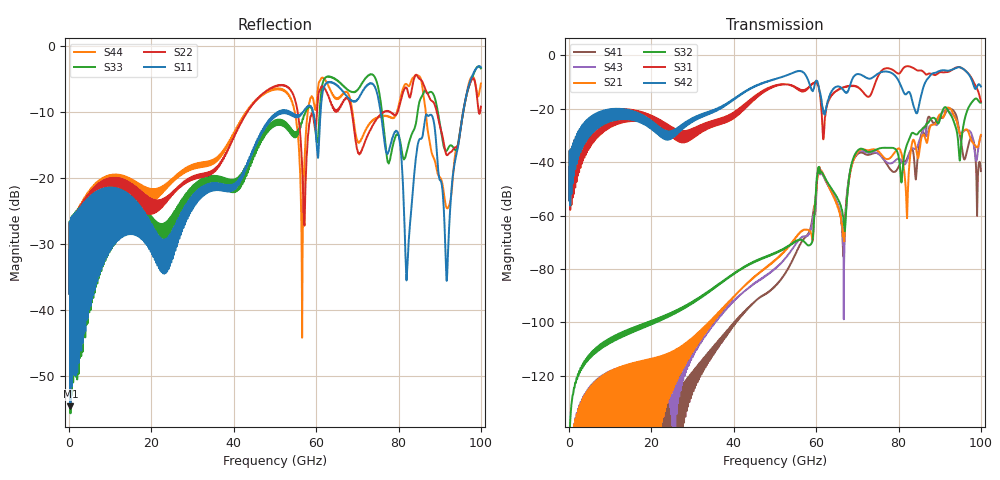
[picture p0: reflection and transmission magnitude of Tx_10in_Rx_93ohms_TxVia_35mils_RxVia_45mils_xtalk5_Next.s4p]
! Info: Touchstone file created by Circ.  Input file=Tx_10in_Rx_93ohms_TxVia_35mils_RxVia_45mils.circ
# Hz S RI R 50
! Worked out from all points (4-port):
!   10000 points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, 10 MHz to 100 GHz, reference 50 ohm
!   strongest paths, dB at 10 MHz, 25.01 GHz, 50.01 GHz, 75.01 GHz, 100 GHz:
!     S42: -54.3, -29.6, -8.9, -6.9, -11.7
!     S31: -54.3, -30.0, -11.3, -7.9, -17.3
!     S32: -162.3, -96.5, -74.0, -35.1, -17.7
!     S21: -175.8, -111.0, -76.8, -35.8, -29.8
!     S43: -175.7, -113.4, -79.9, -36.7, -30.2
!     S41: -181.3, -136.5, -86.6, -36.8, -43.4
!   lowest |S11| = -54.6 dB at 330 MHz (marker M1), VSWR 1.00, Z = 49.9 - j0.173 ohm
!   |S11| at or under -10 dB: start of sweep to 50.9 GHz; 53.53 GHz to 56.9 GHz (3.375 GHz wide, 6.11 % of centre); 75.64 GHz to 95.73 GHz (20.09 GHz wide, 23.4 % of centre) (the widest 3 of 12)
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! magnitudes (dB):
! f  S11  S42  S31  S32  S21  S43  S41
! 10 MHz  -37.6  -54.3  -54.3  -162.3  -175.8  -175.7  -181.3
! 330 MHz  -54.6  -41.8  -41.8  -135.9  -149.9  -149.8  -156.1
! 58.36 GHz  -9.1  -10.6  -11.8  -71.2  -65.6  -66.6  -66.0
! 60.75 GHz  -14.2  -13.0  -13.1  -42.0  -41.8  -42.1  -42.1
! 66.6 GHz  -7.1  -13.0  -12.1  -60.8  -67.6  -71.3  -74.7
! 91.74 GHz  -35.5  -5.8  -6.3  -20.0  -19.8  -20.6  -20.6
! 100 GHz  -3.3  -11.7  -17.3  -17.7  -29.8  -30.2  -43.4
